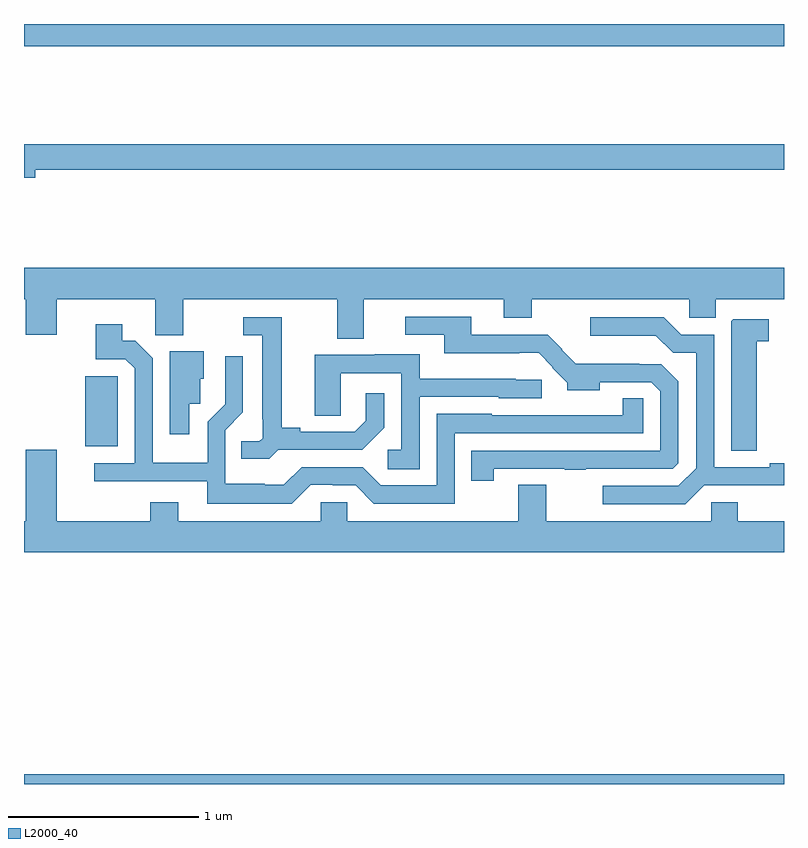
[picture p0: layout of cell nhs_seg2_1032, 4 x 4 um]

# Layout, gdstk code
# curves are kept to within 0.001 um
import gdstk
lib = gdstk.Library(unit=1e-6, precision=1e-09)
def R(c, l, rs):  # rectangles x0, y0, x1, y1
    for r in rs: c.add(gdstk.rectangle(r[:2], r[2:], *l))
def P(c, l, *ps):  # polygons
    for p in ps: c.add(gdstk.Polygon(p, *l))
L2000_40 = (2000, 40)

nhs_seg2_1032 = lib.new_cell('nhs_seg2_1032')
R(nhs_seg2_1032, L2000_40, [(165,595.8,169,595.852), (165.323,597.578,165.493,597.945), (165,599.684,169,599.8)])
P(nhs_seg2_1032, L2000_40, [(165.058,599.032),(169,599.032),(169,599.168),(165,599.168),(165,598.99),(165.058,598.99)],
  [(166.789,598.352),(167.525,598.352),(167.525,598.253),(167.673,598.253),(167.673,598.352),(168.501,598.352),(168.501,598.254),(168.64,598.254),(168.64,598.352),(169,598.352),(169,598.516),(165,598.516),(165,598.352),(165.008,598.352),(165.008,598.164),(165.172,598.164),(165.172,598.352),(165.69,598.352),(165.69,598.163),(165.837,598.163),(165.837,598.352),(166.649,598.352),(166.649,598.144),(166.789,598.144)],
  [(167.472,597.459),(167.845,597.459),(167.845,597.454),(167.957,597.454),(167.957,597.459),(168.414,597.459),(168.444,597.489),(168.444,597.921),(168.355,598.01),(168.239,598.01),(168.239,598.012),(167.905,598.012),(167.831,598.085),(167.833,598.087),(167.757,598.164),(167.353,598.164),(167.353,598.26),(167.007,598.26),(167.007,598.164),(167.213,598.164),(167.213,598.067),(167.606,598.067),(167.606,598.07),(167.708,598.07),(167.784,597.993),(167.781,597.99),(167.86,597.912),(167.86,597.872),(168.031,597.872),(168.031,597.915),(168.3,597.915),(168.348,597.867),(168.348,597.555),(167.353,597.555),(167.353,597.396),(167.472,597.396)],
  [(168.58,597.372),(169,597.372),(169,597.488),(168.926,597.488),(168.926,597.468),(168.633,597.468),(168.633,598.164),(168.459,598.164),(168.366,598.257),(167.979,598.257),(167.979,598.16),(168.325,598.16),(168.416,598.069),(168.537,598.069),(168.537,597.462),(168.444,597.369),(168.045,597.369),(168.045,597.273),(168.481,597.273)],
  [(166.338,597.558),(166.78,597.558),(166.896,597.674),(166.896,597.856),(166.799,597.856),(166.799,597.711),(166.742,597.654),(166.453,597.654),(166.453,597.674),(166.357,597.674),(166.357,598.257),(166.155,598.257),(166.155,598.161),(166.253,598.161),(166.253,597.721),(166.257,597.721),(166.257,597.621),(166.239,597.603),(166.144,597.603),(166.144,597.511),(166.29,597.511)],
  [(168.856,598.129),(168.919,598.129),(168.919,598.245),(168.732,598.245),(168.722,598.235),(168.722,597.553),(168.856,597.553)],
  [(166.509,597.375),(166.626,597.375),(166.626,597.372),(166.746,597.372),(166.842,597.276),(167.268,597.276),(167.268,597.645),(168.258,597.645),(168.258,597.83),(168.15,597.83),(168.15,597.742),(167.463,597.741),(167.463,597.748),(167.172,597.748),(167.172,597.372),(166.878,597.372),(166.782,597.468),(166.461,597.468),(166.368,597.375),(166.268,597.375),(166.268,597.379),(166.059,597.379),(166.059,597.663),(166.152,597.756),(166.152,598.051),(166.058,598.051),(166.058,597.798),(165.966,597.706),(165.966,597.49),(165.678,597.49),(165.678,598.041),(165.585,598.134),(165.517,598.134),(165.517,598.219),(165.377,598.219),(165.377,598.035),(165.534,598.035),(165.582,597.987),(165.582,597.489),(165.369,597.489),(165.369,597.393),(165.965,597.393),(165.965,597.275),(166.409,597.275)],
  [(165.871,597.801),(165.927,597.801),(165.927,597.933),(165.946,597.933),(165.946,598.078),(165.767,598.078),(165.767,597.642),(165.871,597.642)],
  [(167.082,597.837),(167.499,597.837),(167.499,597.831),(167.724,597.831),(167.724,597.927),(167.589,597.927),(167.589,597.934),(167.083,597.934),(167.083,598.063),(166.847,598.063),(166.847,598.059),(166.529,598.059),(166.529,597.739),(166.668,597.739),(166.668,597.963),(166.986,597.963),(166.986,597.558),(166.914,597.558),(166.914,597.457),(167.082,597.457)],
  [(165.008,597.559),(165.008,597.184),(165,597.184),(165,597.02),(169,597.02),(169,597.184),(168.757,597.184),(168.757,597.282),(168.618,597.282),(168.618,597.184),(167.749,597.184),(167.749,597.374),(167.602,597.374),(167.602,597.184),(166.701,597.184),(166.701,597.282),(166.563,597.282),(166.563,597.184),(165.811,597.184),(165.811,597.283),(165.664,597.283),(165.664,597.184),(165.172,597.184),(165.172,597.559)])

lib.write_gds('nhs_seg2_1032.gds')
